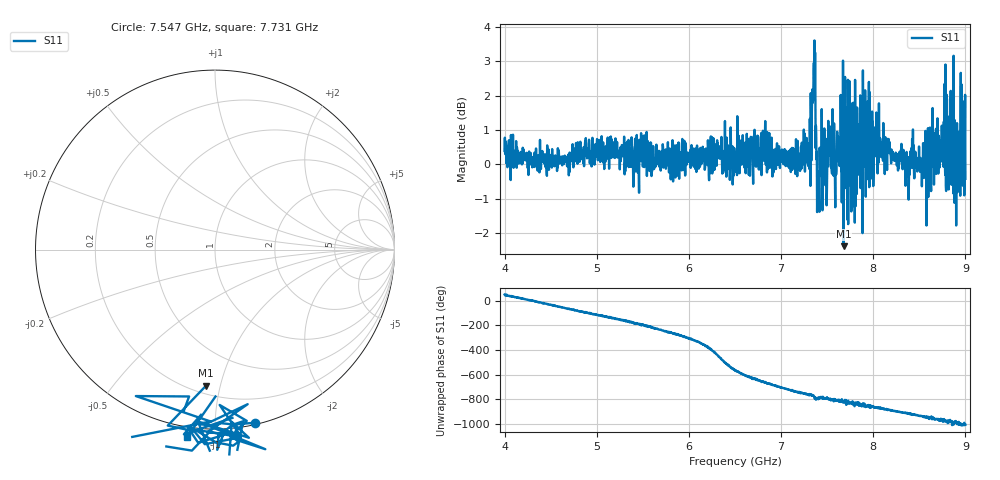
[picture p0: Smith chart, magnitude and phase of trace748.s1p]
! Created with skrf 1.8.0 (http://scikit-rf.org).
# Hz S RI R 50.0
!freq ReS11 ImS11
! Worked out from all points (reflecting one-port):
!   1601 points, 4 GHz to 9 GHz, reference 50 ohm
!   lowest |S11| = -2.4 dB at 7.678 GHz (marker M1), VSWR 7.34, Z = 12.6 - j45.2 ohm
!   phase of S11 starts at 51 deg and turns -1056 deg over the sweep
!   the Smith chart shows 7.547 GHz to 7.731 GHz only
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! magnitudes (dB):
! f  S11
! 4 GHz  0.4
! 4.625 GHz  0.0
! 5.25 GHz  -0.1
! 5.875 GHz  0.3
! 6.328 GHz  0.5
! 6.5 GHz  0.1
! 6.806 GHz  0.5
! 7.125 GHz  0.2
! 7.294 GHz  0.0
! 7.347 GHz  1.9
! 7.362 GHz  3.6
! 7.4 GHz  -0.6
! 7.412 GHz  -0.9
! 7.538 GHz  0.4
! 7.591 GHz  0.4
! 7.678 GHz  -2.4
! 7.75 GHz  -0.6
! 7.788 GHz  0.2
! 7.891 GHz  0.2
! 7.909 GHz  0.5
! 7.962 GHz  2.1
! 8.375 GHz  -0.1
! 8.416 GHz  0.5
! 8.603 GHz  0.3
! 8.759 GHz  0.7
! 8.919 GHz  0.0
! 8.956 GHz  0.3
! 9 GHz  -0.4
